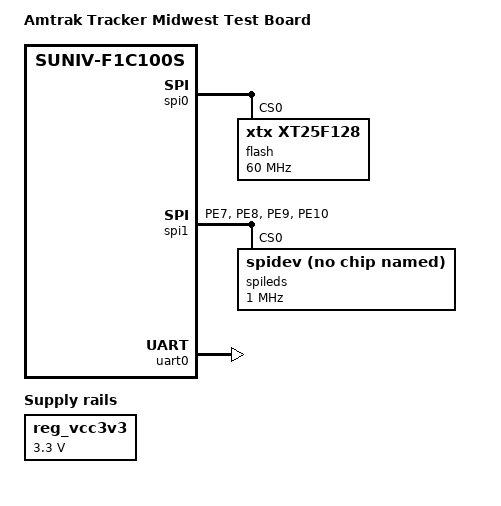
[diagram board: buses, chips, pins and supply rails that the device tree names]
// SPDX-License-Identifier: (GPL-2.0+ OR MIT)
/*
 * Based on work:
 *   Copyright 2022 Arm Ltd,
 *   Copyright 2018 Icenowy Zheng <icenowy@aosc.io>
 */

/dts-v1/;
#include "allwinner/suniv-f1c100s.dtsi"

#include <dt-bindings/gpio/gpio.h>

/ {
	model = "Amtrak Tracker Midwest Test Board";
	compatible = "amtrak-midwest-test", "allwinner,suniv-f1c200s",
		     "allwinner,suniv-f1c100s";

	aliases {
		serial0 = &uart0;
	};

	chosen {
		stdout-path = "serial0:115200n8";
	};

	reg_vcc3v3: regulator-3v3 {
		compatible = "regulator-fixed";
		regulator-name = "vcc3v3";
		regulator-min-microvolt = <3300000>;
		regulator-max-microvolt = <3300000>;
	};
};

&pio {
	spi1_pc_pins: spi1-pc-pins {
		pins = "PE7", "PE8", "PE9", "PE10";
		function = "spi1";
	};
};

&spi0 {
	pinctrl-names = "default";
	pinctrl-0 = <&spi0_pc_pins>;
	status = "okay";

	flash@0 {
		#address-cells = <1>;
		#size-cells = <1>;
		compatible = "xtx,xt25f128", "jedec,spi-nor";
		reg = <0>;
		spi-max-frequency = <60000000>;
	};
};

&spi1 {
	pinctrl-names = "default";
	pinctrl-0 = <&spi1_pc_pins>;
	status = "okay";

	spileds@0 {
		#address-cells = <1>;
		#size-cells = <0>;
		compatible = "rohm,dh2228fv";
		reg = <0>;
		spi-max-frequency = <1000000>;
	};
};

&otg_sram {
	status = "okay";
};

&uart0 {
	pinctrl-names = "default";
	pinctrl-0 = <&uart0_pe_pins>;
	status = "okay";
};
